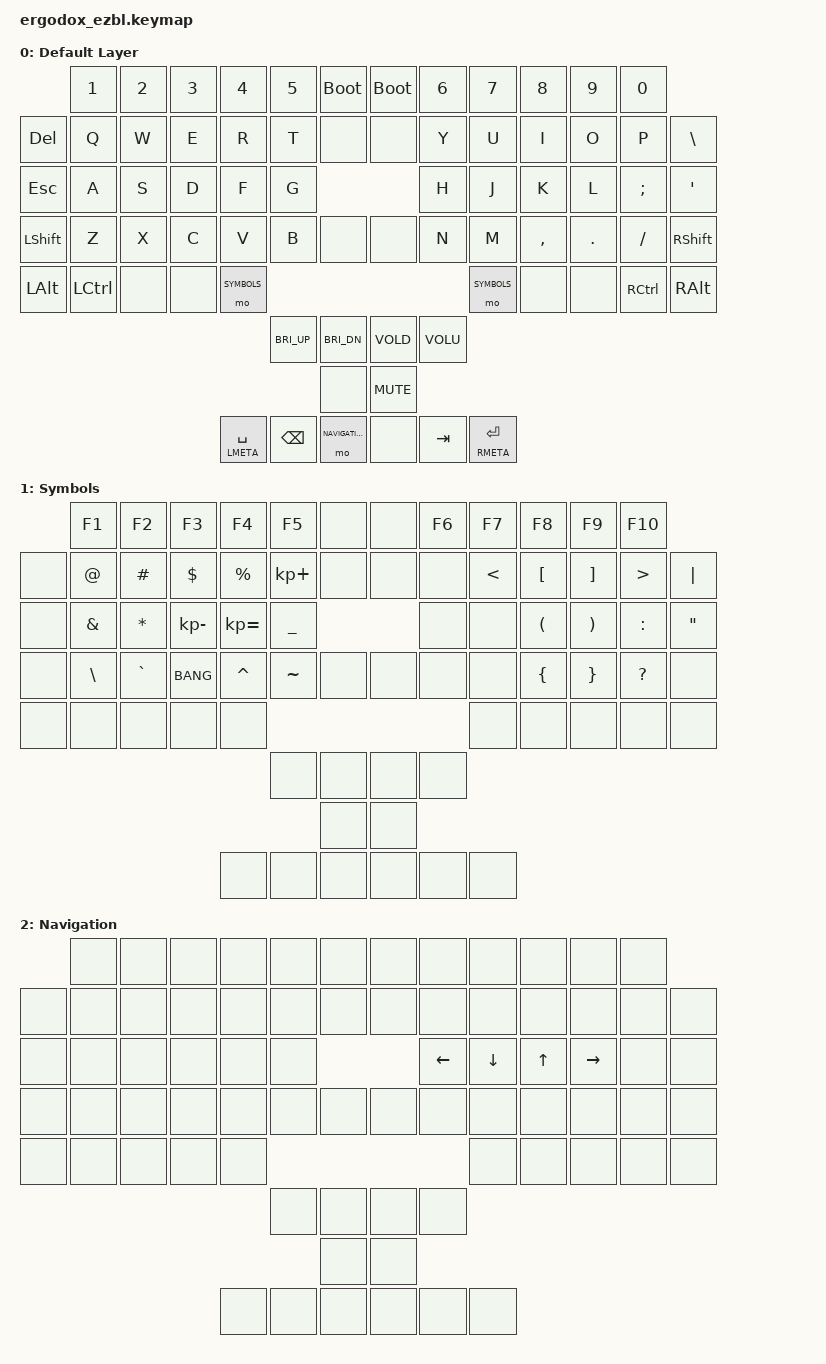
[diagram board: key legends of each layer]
/*
 * Copyright (c) 2020 The ZMK Contributors
 *
 * SPDX-License-Identifier: MIT
 */

#include <behaviors.dtsi>
#include <dt-bindings/zmk/keys.h>
#include <dt-bindings/zmk/bt.h>

#define SYMBOLS 1
#define NAVIGATION 2

/ {
  keymap {
    compatible = "zmk,keymap";

    default_layer {
      display-name = "Default Layer";

//          RC(5,1) RC(5,2) RC(5,3) RC(5,4) RC(5,5) RC(5,6)          RC(5,7) RC(5,8) RC(5,9) RC(5,10) RC(5,11) RC(5,12)
//  RC(4,0) RC(4,1) RC(4,2) RC(4,3) RC(4,4) RC(4,5) RC(4,6)          RC(4,7) RC(4,8) RC(4,9) RC(4,10) RC(4,11) RC(4,12) RC(4,13)
//  RC(3,0) RC(3,1) RC(3,2) RC(3,3) RC(3,4) RC(3,5)                          RC(3,8) RC(3,9) RC(3,10) RC(3,11) RC(3,12) RC(3,13)
//  RC(2,0) RC(2,1) RC(2,2) RC(2,3) RC(2,4) RC(2,5) RC(2,6)          RC(2,7) RC(2,8) RC(2,9) RC(2,10) RC(2,11) RC(2,12) RC(2,13)
//  RC(1,0) RC(1,1) RC(1,2) RC(1,3) RC(1,4)                                          RC(1,9) RC(1,10) RC(1,11) RC(1,12) RC(1,13)
//                                            RC(0,3)  RC(0,0)     RC(0,7) RC(0,10)
//                                                     RC(0,1)     RC(0,8)
//                                     RC(0,5) RC(0,4) RC(0,2)     RC(0,9) RC(0,11)  RC(0,12)
      bindings = <
              &kp  N1       &kp  N2       &kp  N3       &kp  N4       &kp  N5       &bootloader            &bootloader   &kp  N6       &kp  N7       &kp  N8       &kp  N9       &kp  N0
&kp  DEL      &kp  Q        &kp  W        &kp  E        &kp  R        &kp  T        &none                  &none         &kp  Y        &kp  U        &kp  I        &kp  O        &kp  P        &kp  BSLH
&kp  ESC      &kp  A        &kp  S        &kp  D        &kp  F        &kp  G                                             &kp  H        &kp  J        &kp  K        &kp  L        &kp  SEMI     &kp  SQT
&kp  LSHFT    &kp  Z        &kp  X        &kp  C        &kp  V        &kp  B        &none                  &none         &kp  N        &kp  M        &kp  COMMA    &kp  DOT      &kp  SLASH    &kp  RSHFT
&kp  LALT     &kp  LCTRL    &none         &none         &mo  SYMBOLS                                                                   &mo  SYMBOLS  &none         &none         &kp  RCTRL    &kp  RALT
                                                                  &kp  C_BRI_UP     &kp  C_BRI_DN          &kp  VOLD     &kp  VOLU
                                                                                    &none                  &kp K_MUTE
                                                        &mt LMETA SPC &kp BSPC      &mo  NAVIGATION        &none         &kp  TAB      &mt RMETA RET
      >;
    };
    symbols {
      display-name = "Symbols";
      bindings = <
       &kp F1        &kp F2       &kp F3       &kp F4       &kp F5         &none             &none  &kp F6  &kp F7  &kp F8           &kp F9            &kp F10
&none  &kp AT        &kp HASH     &kp DOLLAR   &kp PERCENT  &kp KP_PLUS    &none             &none  &none   &kp LT  &kp LEFT_BRACKET &kp RIGHT_BRACKET &kp GT       &kp PIPE
&none  &kp AMPERSAND &kp ASTERISK &kp KP_MINUS &kp KP_EQUAL &kp UNDERSCORE                          &none   &none   &kp LPAR         &kp RPAR          &kp COLON    &kp DOUBLE_QUOTES
&none  &kp BACKSLASH &kp GRAVE    &kp BANG     &kp CARET    &kp TILDE      &none             &none  &none   &none   &kp LEFT_BRACE   &kp RIGHT_BRACE   &kp QUESTION &none
&none  &none         &none        &none        &none                                                        &none   &none            &none             &none        &none
                                                                      &none  &none         &none  &none
                                                                             &none         &none
                                                               &none  &none  &none         &none  &none  &none
      >;
    };
    navigation {
      display-name = "Navigation";
      bindings = <
       &none  &none  &none  &none  &none  &none              &none  &none     &none     &none   &none     &none
&none  &none  &none  &none  &none  &none  &none              &none  &none     &none     &none   &none     &none  &none
&none  &none  &none  &none  &none  &none                            &kp LEFT  &kp DOWN  &kp UP  &kp RIGHT &none  &none
&none  &none  &none  &none  &none  &none  &none              &none  &none     &none     &none   &none     &none  &none
&none  &none  &none  &none  &none                                             &none     &none   &none     &none  &none
                                      &none  &none         &none  &none
                                             &none         &none
                               &none  &none  &none         &none  &none  &none
      >;
    };
  };
};

